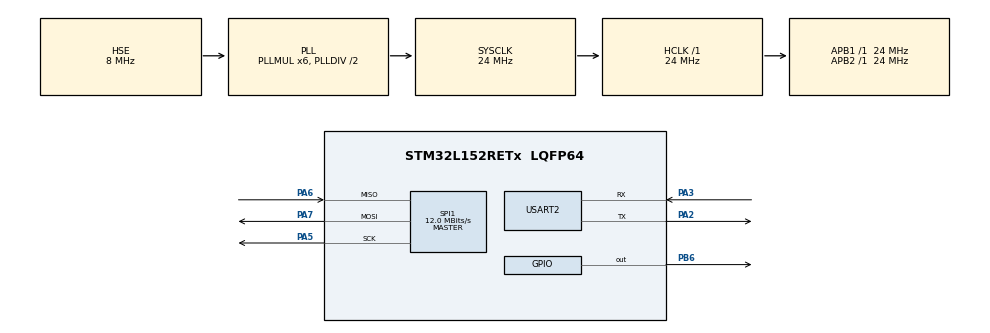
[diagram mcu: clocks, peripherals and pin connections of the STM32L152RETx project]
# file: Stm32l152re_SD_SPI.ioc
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Mcu.Family=STM32L1
Mcu.Name=STM32L152RETx
Mcu.Package=LQFP64
NVIC.PriorityGroup=NVIC_PRIORITYGROUP_4
PA13.Mode=Serial_Wire
PA13.Signal=SYS_JTMS-SWDIO
PA14.Mode=Serial_Wire
PA14.Signal=SYS_JTCK-SWCLK
PA2.Mode=Asynchronous
PA2.Signal=USART2_TX
PA3.Mode=Asynchronous
PA3.Signal=USART2_RX
PA5.Mode=Full_Duplex_Master
PA5.Signal=SPI1_SCK
PA6.Mode=Full_Duplex_Master
PA6.Signal=SPI1_MISO
PA7.Mode=Full_Duplex_Master
PA7.Signal=SPI1_MOSI
PB6.PinState=GPIO_PIN_SET
PB6.Signal=GPIO_Output
PH0-OSC_IN.Mode=HSE-External-Clock-Source
PH0-OSC_IN.Signal=RCC_OSC_IN
ProjectManager.HeapSize=0x200
ProjectManager.StackSize=0x400
ProjectManager.TargetToolchain=STM32CubeIDE
RCC.48MHZClocksFreq_Value=24000000
RCC.AHBFreq_Value=24000000
RCC.APB1Freq_Value=24000000
RCC.APB1TimFreq_Value=24000000
RCC.APB2Freq_Value=24000000
RCC.APB2TimFreq_Value=24000000
RCC.HCLKFreq_Value=24000000
RCC.HSE_VALUE=8000000
RCC.HSI_VALUE=16000000
RCC.LSE_VALUE=32768
RCC.MSI_VALUE=2097000
RCC.PLLMUL=RCC_PLL_MUL6
RCC.PLLSourceVirtual=RCC_PLLSOURCE_HSE
RCC.SYSCLKFreq_VALUE=24000000
RCC.SYSCLKSource=RCC_SYSCLKSOURCE_PLLCLK
RCC.VCOOutputFreq_Value=48000000
SPI1.CalculateBaudRate=12.0 MBits/s
SPI1.Direction=SPI_DIRECTION_2LINES
SPI1.Mode=SPI_MODE_MASTER
SPI1.VirtualType=VM_MASTER
USART2.VirtualMode=VM_ASYNC
VP_FATFS_VS_Generic.Mode=User_defined
board=custom

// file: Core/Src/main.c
/* USER CODE BEGIN Header */
/**
  ******************************************************************************
  * @file           : main.c
  * @brief          : Main program body
  ******************************************************************************
  * @attention
  *
  * <h2><center>&copy; Copyright (c) 2020 STMicroelectronics.
  * All rights reserved.</center></h2>
  *
  * This software component is licensed by ST under BSD 3-Clause license,
  * the "License"; You may not use this file except in compliance with the
  * License. You may obtain a copy of the License at:
  *                        opensource.org/licenses/BSD-3-Clause
  *
  ******************************************************************************
  */
/* USER CODE END Header */

#include "main.h"
#include "fatfs.h"

SPI_HandleTypeDef hspi1;

UART_HandleTypeDef huart2;

/* USER CODE BEGIN PV */
FATFS fs;
FATFS *pfs;
FIL fil;
FRESULT fres;
DWORD fre_clust;
uint32_t totalSpace, freeSpace;
char buffer[100];
char bufferRxBuffer[100];
char bufferRx[100];
/* USER CODE END PV */

void SystemClock_Config(void);
static void MX_GPIO_Init(void);
static void MX_SPI1_Init(void);
static void MX_USART2_UART_Init(void);

int main(void)
{
  /* USER CODE BEGIN 1 */
	uint32_t wbytes; /* File write counts */
  /* USER CODE END 1 */

  /* MCU Configuration--------------------------------------------------------*/

  /* Reset of all peripherals, Initializes the Flash interface and the Systick. */
  HAL_Init();

  /* Configure the system clock */
  SystemClock_Config();

  /* Initialize all configured peripherals */
  MX_GPIO_Init();
  MX_SPI1_Init();
  MX_USART2_UART_Init();
  MX_FATFS_Init();
  /* USER CODE BEGIN 2 */
	/* Wait for SD module reset */
	HAL_Delay(500);

	/* Mount SD Card */
	fres = f_mount(&fs, "", 0);
	if(fres != FR_OK)
		Error_Handler();

	/* Open file to write */
	fres = f_open(&fil, "test.txt", FA_CREATE_ALWAYS | FA_WRITE | FA_READ);
	if(fres != FR_OK)
		Error_Handler();

	/* Check freeSpace space */
	fres = f_getfree("", &fre_clust, &pfs);
	if(fres != FR_OK)
		Error_Handler();

	totalSpace = (uint32_t)((pfs->n_fatent - 2) * pfs->csize * 0.5);
	freeSpace = (uint32_t)(fre_clust * pfs->csize * 0.5);

	/* free space is less than 1kb */
	if(freeSpace < 1)
		Error_Handler();

	buffer[0] = '1';
	buffer[1] = '2';
	buffer[2] = '3';
	buffer[3] = '4';
	buffer[4] = '5';
	buffer[5] = '6';
	buffer[6] = 0x0d;//cr
	buffer[7] = 0x0a;//lf

	/*Writing data to SD card file*/
	f_write(&fil, buffer, 8, (void *)&wbytes);

	/*Reading seven first bytes from file SD card to array*/
	f_read(&fil,bufferRxBuffer,7,(void *)&wbytes);

	HAL_UART_Transmit(&huart2, bufferRxBuffer, 7, 100);

	/* Writing text */
	f_puts("STM32 SD Card I/O Example via SPI\n", &fil);
	f_puts("Save the world!!!\n", &fil);

	/* Close file */
	if(f_close(&fil) != FR_OK)
		Error_Handler();

	/* Open file to read */
	if(f_open(&fil, "test.txt", FA_READ) != FR_OK)
		Error_Handler();

	/*Reading string line from file on SD card*/
	while(f_gets(bufferRx, sizeof(bufferRx), &fil))
	{
		HAL_UART_Transmit(&huart2, bufferRx, sizeof(bufferRx), 100);
		/* SWV output */
//		printf("%s", buffer);
	}

	/* Close file */
	if(f_close(&fil) != FR_OK)
		Error_Handler();

	if(f_open(&fil, "STM32.TXT", FA_CREATE_ALWAYS | FA_WRITE | FA_READ) == FR_OK)
	 {
		uint8_t data[] = {"This is new line"};
		if(f_write(&fil, data, sizeof(data), (void *)&wbytes) == FR_OK);
		{
			f_close(&fil);
		}
	 }

	/* Unmount SDCARD */
	if(f_mount(NULL, "", 1) != FR_OK)
		Error_Handler();

  /* USER CODE END 2 */

  /* Infinite loop */
  while (1)
  {

  }
}

void SystemClock_Config(void)
{
  RCC_OscInitTypeDef RCC_OscInitStruct = {0};
  RCC_ClkInitTypeDef RCC_ClkInitStruct = {0};

  /** Configure the main internal regulator output voltage
  */
  __HAL_PWR_VOLTAGESCALING_CONFIG(PWR_REGULATOR_VOLTAGE_SCALE1);
  /** Initializes the CPU, AHB and APB busses clocks
  */
  RCC_OscInitStruct.OscillatorType = RCC_OSCILLATORTYPE_HSE;
  RCC_OscInitStruct.HSEState = RCC_HSE_BYPASS;
  RCC_OscInitStruct.PLL.PLLState = RCC_PLL_ON;
  RCC_OscInitStruct.PLL.PLLSource = RCC_PLLSOURCE_HSE;
  RCC_OscInitStruct.PLL.PLLMUL = RCC_PLL_MUL6;
  RCC_OscInitStruct.PLL.PLLDIV = RCC_PLL_DIV2;
  if (HAL_RCC_OscConfig(&RCC_OscInitStruct) != HAL_OK)
  {
    Error_Handler();
  }
  /** Initializes the CPU, AHB and APB busses clocks
  */
  RCC_ClkInitStruct.ClockType = RCC_CLOCKTYPE_HCLK|RCC_CLOCKTYPE_SYSCLK
                              |RCC_CLOCKTYPE_PCLK1|RCC_CLOCKTYPE_PCLK2;
  RCC_ClkInitStruct.SYSCLKSource = RCC_SYSCLKSOURCE_PLLCLK;
  RCC_ClkInitStruct.AHBCLKDivider = RCC_SYSCLK_DIV1;
  RCC_ClkInitStruct.APB1CLKDivider = RCC_HCLK_DIV1;
  RCC_ClkInitStruct.APB2CLKDivider = RCC_HCLK_DIV1;

  if (HAL_RCC_ClockConfig(&RCC_ClkInitStruct, FLASH_LATENCY_1) != HAL_OK)
  {
    Error_Handler();
  }
}

static void MX_SPI1_Init(void)
{

  /* SPI1 parameter configuration*/
  hspi1.Instance = SPI1;
  hspi1.Init.Mode = SPI_MODE_MASTER;
  hspi1.Init.Direction = SPI_DIRECTION_2LINES;
  hspi1.Init.DataSize = SPI_DATASIZE_8BIT;
  hspi1.Init.CLKPolarity = SPI_POLARITY_LOW;
  hspi1.Init.CLKPhase = SPI_PHASE_1EDGE;
  hspi1.Init.NSS = SPI_NSS_SOFT;
  hspi1.Init.BaudRatePrescaler = SPI_BAUDRATEPRESCALER_2;
  hspi1.Init.FirstBit = SPI_FIRSTBIT_MSB;
  hspi1.Init.TIMode = SPI_TIMODE_DISABLE;
  hspi1.Init.CRCCalculation = SPI_CRCCALCULATION_DISABLE;
  hspi1.Init.CRCPolynomial = 10;
  if (HAL_SPI_Init(&hspi1) != HAL_OK)
  {
    Error_Handler();
  }

}

static void MX_USART2_UART_Init(void)
{

  huart2.Instance = USART2;
  huart2.Init.BaudRate = 115200;
  huart2.Init.WordLength = UART_WORDLENGTH_8B;
  huart2.Init.StopBits = UART_STOPBITS_1;
  huart2.Init.Parity = UART_PARITY_NONE;
  huart2.Init.Mode = UART_MODE_TX_RX;
  huart2.Init.HwFlowCtl = UART_HWCONTROL_NONE;
  huart2.Init.OverSampling = UART_OVERSAMPLING_16;
  if (HAL_UART_Init(&huart2) != HAL_OK)
  {
    Error_Handler();
  }

}

static void MX_GPIO_Init(void)
{
  GPIO_InitTypeDef GPIO_InitStruct = {0};

  /* GPIO Ports Clock Enable */
  __HAL_RCC_GPIOH_CLK_ENABLE();
  __HAL_RCC_GPIOA_CLK_ENABLE();
  __HAL_RCC_GPIOB_CLK_ENABLE();

  /*Configure GPIO pin Output Level */
  HAL_GPIO_WritePin(GPIOB, GPIO_PIN_6, GPIO_PIN_SET);

  /*Configure GPIO pin : PB6 */
  GPIO_InitStruct.Pin = GPIO_PIN_6;
  GPIO_InitStruct.Mode = GPIO_MODE_OUTPUT_PP;
  GPIO_InitStruct.Pull = GPIO_NOPULL;
  GPIO_InitStruct.Speed = GPIO_SPEED_FREQ_LOW;
  HAL_GPIO_Init(GPIOB, &GPIO_InitStruct);

}

void Error_Handler(void)
{
}

/************************ (C) COPYRIGHT STMicroelectronics *****END OF FILE****/
